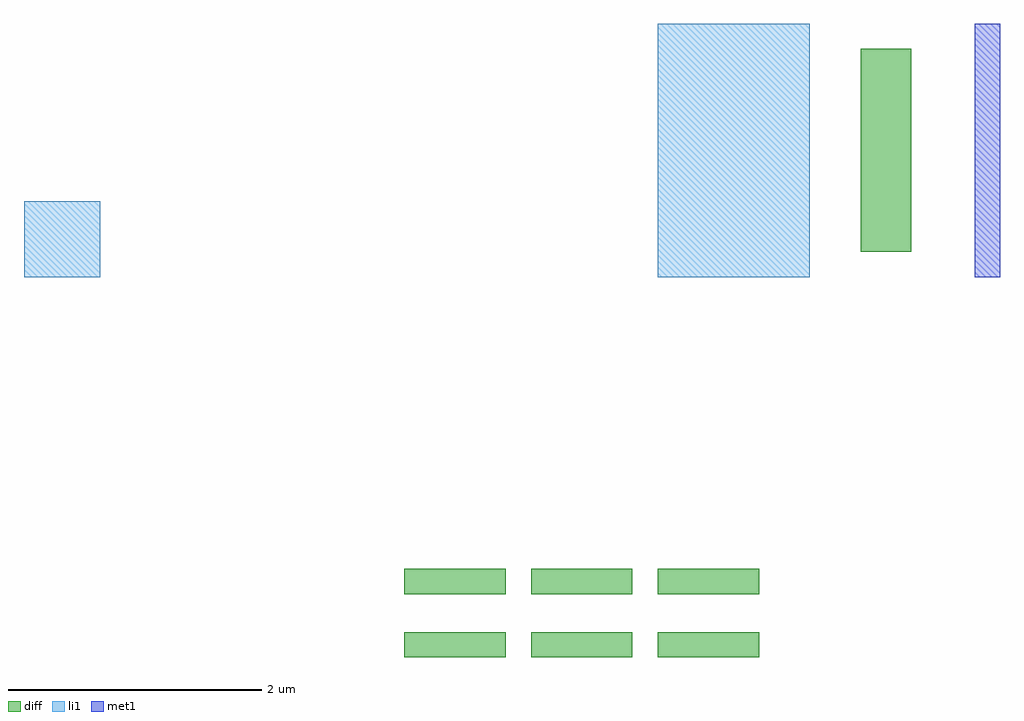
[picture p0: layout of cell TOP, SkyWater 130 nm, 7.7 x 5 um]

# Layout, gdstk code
from math import pi, radians
import gdstk
lib = gdstk.Library(unit=1e-6, precision=1e-09)
def R(c, l, rs):  # rectangles x0, y0, x1, y1
    for r in rs: c.add(gdstk.rectangle(r[:2], r[2:], *l))
diff = (65, 20)
li1 = (67, 20)
met1 = (68, 20)

leaf = lib.new_cell('LEAF')
R(leaf, diff, [(0,0,0.8,0.2)])

mid = lib.new_cell('MID')
R(mid, li1, [(0,0,1,0.6)])
mid.add(gdstk.FlexPath([(0,1.3),(1,1.3)], 0.1, ends="flush", simple_path=True, layer=68, datatype=20))  # met1
mid.add(gdstk.Reference(leaf, (0.1,0.8)))

top = lib.new_cell('TOP')
R(top, li1, [(-3,0,-2.4,0.6)])
top.add(gdstk.Reference(mid, (2,0), rotation=pi/2, magnification=2, x_reflection=True))
r = gdstk.Reference(leaf, (0,-3)); r.repetition = gdstk.Repetition(3, 2, v1=(1,0), v2=(0,0.5)); top.add(r)

lib.write_gds('TOP.gds')
